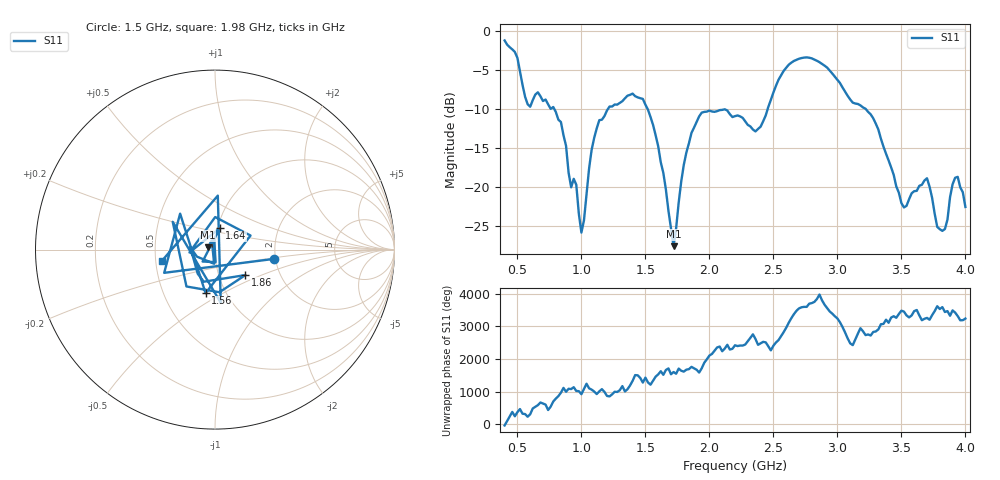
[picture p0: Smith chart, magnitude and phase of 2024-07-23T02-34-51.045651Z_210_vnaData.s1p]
!Created with skrf (http://scikit-rf.org).
# Hz S RI R 50.0
!freq ReS11 ImS11
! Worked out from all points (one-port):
!   181 points, 400 MHz to 4 GHz, reference 50 ohm
!   lowest |S11| = -27.6 dB at 1.72 GHz (marker M1), VSWR 1.09, Z = 46.2 + j1.12 ohm
!   |S11| at or under -10 dB: 786.4 MHz to 1.21 GHz (423.1 MHz wide, 42.4 % of centre); 1.516 GHz to 2.456 GHz (940.6 MHz wide, 47.4 % of centre); 3.217 GHz to end of sweep (the widest 3 of 4)
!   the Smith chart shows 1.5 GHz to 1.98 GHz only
!   S11 on the Smith chart (normalised r, x): 1.5 GHz: 1.97, -0.23; 1.56 GHz: 0.80, -0.42; 1.64 GHz: 1.02, +0.25; 1.86 GHz: 1.34, -0.40; 1.98 GHz: 0.54, -0.07
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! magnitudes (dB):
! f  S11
! 400 MHz  -1.3
! 500 MHz  -3.5
! 580 MHz  -9.4
! 660 MHz  -7.9
! 860 MHz  -13.4
! 920 MHz  -20.1
! 960 MHz  -19.8
! 1 GHz  -25.9
! 1.12 GHz  -12.5
! 1.3 GHz  -9.3
! 1.5 GHz  -9.5
! 1.56 GHz  -12.1
! 1.64 GHz  -18.2
! 1.72 GHz  -27.6
! 1.76 GHz  -22.0
! 1.86 GHz  -13.1
! 1.98 GHz  -10.4
! 2.2 GHz  -11.0
! 2.4 GHz  -12.3
! 2.66 GHz  -3.9
! 3.1 GHz  -8.8
! 3.28 GHz  -11.2
! 3.5 GHz  -22.1
! 3.56 GHz  -21.6
! 3.7 GHz  -18.9
! 3.82 GHz  -25.7
! 3.94 GHz  -18.7
! 4 GHz  -22.6
